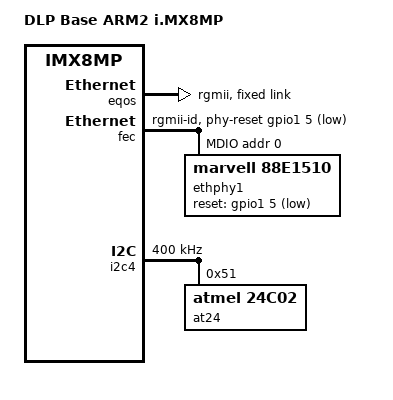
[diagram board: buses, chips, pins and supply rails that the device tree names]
// SPDX-License-Identifier: (GPL-2.0+ OR MIT)
// DLP Base ARM#2 U-Boot device tree
// UART2 on UART2 pads (DCE), PHY reset on GPIO1_IO05, PMIC IRQ on GPIO1_IO04
// FlexSPI: boot flash on Bus A CS0, dual MTP NOR on Bus B CS0/CS1 (from EVK base)

/dts-v1/;

#include "imx8mp-evk.dts"
#include "imx8mp-dlp.dtsi"

/ {
	model = "DLP Base ARM2 i.MX8MP";
	compatible = "dlp,basearm2", "fsl,imx8mp";
};

&eqos {
	/delete-property/ phy-handle;
	phy-mode = "rgmii";
	status = "okay";

	/delete-node/ mdio;

	fixed-link {
		speed = <1000>;
		full-duplex;
	};
};

&fec {
	phy-mode = "rgmii-id";
	phy-reset-gpios = <&gpio1 5 GPIO_ACTIVE_LOW>;
	phy-reset-duration = <15>;
	phy-reset-post-delay = <100>;

	mdio {
		ethphy1: ethernet-phy@0 {
			device_type = "ethernet-phy";
			compatible = "marvell,88e1510";
			reg = <0x0>;
			marvell,reg-init = <3 0x10 0 0x880>;
			reset-gpios = <&gpio1 5 GPIO_ACTIVE_LOW>;
			reset-assert-us = <10000>;
			reset-deassert-us = <80000>;
		};
	};
};

&i2c4 {
	clock-frequency = <400000>;
	pinctrl-names = "default";
	pinctrl-0 = <&pinctrl_i2c4>;
	status = "okay";

	at24@51 {
		compatible = "atmel,24c02";
		reg = <0x51>;
		pagesize = <8>;
	};
};

&uart2 {
	/delete-property/ fsl,dte-mode;
};

&pmic {
	interrupt-parent = <&gpio1>;
	interrupts = <4 IRQ_TYPE_LEVEL_LOW>;
};

&iomuxc {
	pinctrl_hog: hoggrp {
		fsl,pins = <
			/* Board ID inputs */
			MX8MP_IOMUXC_SD2_CD_B__GPIO2_IO12	0x00000106
			MX8MP_IOMUXC_SD2_DATA1__GPIO2_IO16	0x00000106

			/* PHY reset - strong driver for safe high default */
			MX8MP_IOMUXC_GPIO1_IO05__GPIO1_IO05	0x00000166

			/* LEDs - output low */
			MX8MP_IOMUXC_GPIO1_IO00__GPIO1_IO00	0x00000106
			MX8MP_IOMUXC_GPIO1_IO01__GPIO1_IO01	0x00000106

			MX8MP_IOMUXC_GPIO1_IO03__GPIO1_IO03	0x00000106

			/* Misc GPIO1 - safe input default */
			MX8MP_IOMUXC_GPIO1_IO06__GPIO1_IO06	0x00000106
			MX8MP_IOMUXC_GPIO1_IO07__GPIO1_IO07	0x00000106
			MX8MP_IOMUXC_GPIO1_IO08__GPIO1_IO08	0x00000106
			MX8MP_IOMUXC_GPIO1_IO09__GPIO1_IO09	0x00000106
			MX8MP_IOMUXC_GPIO1_IO10__GPIO1_IO10	0x00000106
			MX8MP_IOMUXC_GPIO1_IO11__GPIO1_IO11	0x00000106
			MX8MP_IOMUXC_GPIO1_IO12__GPIO1_IO12	0x00000106
			MX8MP_IOMUXC_GPIO1_IO13__GPIO1_IO13	0x00000106
			MX8MP_IOMUXC_GPIO1_IO14__GPIO1_IO14	0x00000106
			MX8MP_IOMUXC_GPIO1_IO15__GPIO1_IO15	0x00000106

			/* GPIO2 - SD1 group */
			MX8MP_IOMUXC_SD1_DATA0__GPIO2_IO02	0x00000106
			MX8MP_IOMUXC_SD1_DATA1__GPIO2_IO03	0x00000106
			MX8MP_IOMUXC_SD1_DATA2__GPIO2_IO04	0x00000106
			MX8MP_IOMUXC_SD1_DATA3__GPIO2_IO05	0x00000106
			MX8MP_IOMUXC_SD1_DATA4__GPIO2_IO06	0x00000106
			MX8MP_IOMUXC_SD1_DATA5__GPIO2_IO07	0x00000106
			MX8MP_IOMUXC_SD1_DATA6__GPIO2_IO08	0x00000106
			MX8MP_IOMUXC_SD1_DATA7__GPIO2_IO09	0x00000106

			/* GPIO2 - SD2 group */
			MX8MP_IOMUXC_SD2_DATA0__GPIO2_IO15	0x00000046
			MX8MP_IOMUXC_SD2_DATA2__GPIO2_IO17	0x00000106
			MX8MP_IOMUXC_SD2_DATA3__GPIO2_IO18	0x00000106
			MX8MP_IOMUXC_SD2_RESET_B__GPIO2_IO19	0x00000106
			MX8MP_IOMUXC_SD2_WP__GPIO2_IO20	0x00000106
		>;
	};

	pinctrl_i2c4: i2c4grp {
		fsl,pins = <
			MX8MP_IOMUXC_I2C4_SCL__I2C4_SCL	0x400001c2
			MX8MP_IOMUXC_I2C4_SDA__I2C4_SDA	0x400001c2
		>;
	};

	pinctrl_uart2: uart2grp {
		fsl,pins = <
			MX8MP_IOMUXC_UART2_RXD__UART2_DCE_RX	0x140
			MX8MP_IOMUXC_UART2_TXD__UART2_DCE_TX	0x140
		>;
	};

	pinctrl_pmic: pmicirq {
		fsl,pins = <
			MX8MP_IOMUXC_GPIO1_IO04__GPIO1_IO04	0x00000146
		>;
	};
};
